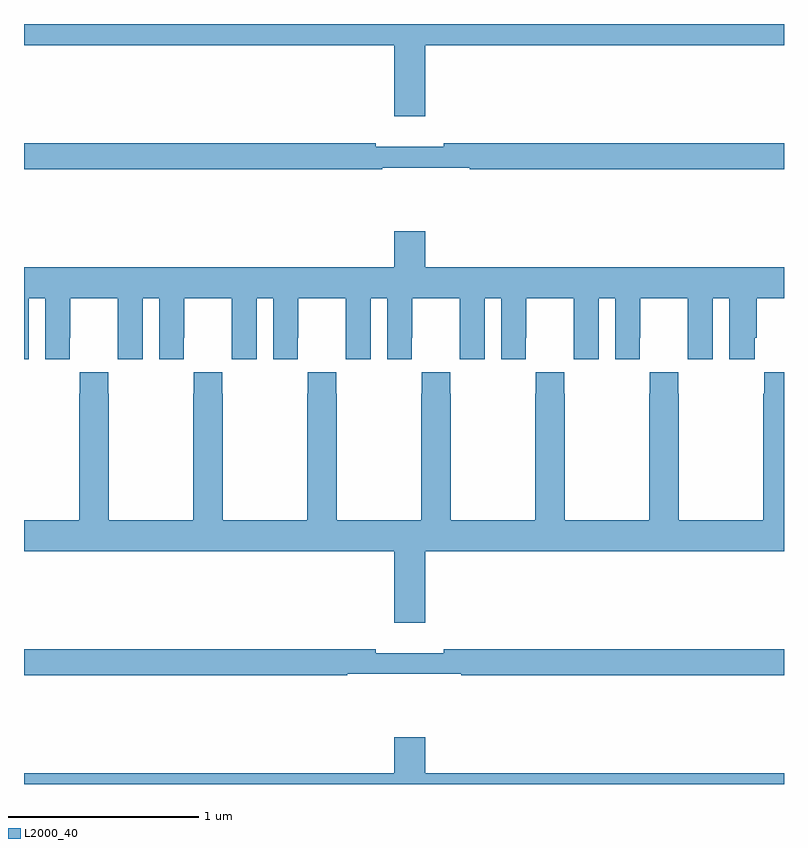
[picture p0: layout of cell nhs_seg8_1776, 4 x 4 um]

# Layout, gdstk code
import gdstk
lib = gdstk.Library(unit=1e-6, precision=1e-09)
def P(c, l, *ps):  # polygons
    for p in ps: c.add(gdstk.Polygon(p, *l))
L2000_40 = (2000, 40)

nhs_seg8_1776 = lib.new_cell('nhs_seg8_1776')
P(nhs_seg8_1776, L2000_40, [(225.112,1161.788),(227,1161.788),(227,1161.9),(223,1161.9),(223,1161.788),(224.948,1161.788),(224.948,1161.414),(225.112,1161.414)],
  [(224.885,1161.144),(225.345,1161.144),(225.345,1161.136),(227,1161.136),(227,1161.272),(225.208,1161.272),(225.208,1161.253),(224.852,1161.253),(224.852,1161.272),(223,1161.272),(223,1161.136),(224.885,1161.136)],
  [(224.948,1160.62),(223,1160.62),(223,1160.136),(223.024,1160.136),(223.024,1160.456),(223.112,1160.456),(223.112,1160.136),(223.242,1160.136),(223.242,1160.248),(223.243,1160.248),(223.243,1160.456),(223.493,1160.456),(223.493,1160.248),(223.494,1160.248),(223.494,1160.136),(223.624,1160.136),(223.624,1160.456),(223.712,1160.456),(223.712,1160.136),(223.842,1160.136),(223.842,1160.248),(223.843,1160.248),(223.843,1160.456),(224.093,1160.456),(224.093,1160.248),(224.094,1160.248),(224.094,1160.136),(224.224,1160.136),(224.224,1160.456),(224.312,1160.456),(224.312,1160.136),(224.442,1160.136),(224.442,1160.248),(224.443,1160.248),(224.443,1160.456),(224.693,1160.456),(224.693,1160.248),(224.694,1160.248),(224.694,1160.136),(224.824,1160.136),(224.824,1160.456),(224.912,1160.456),(224.912,1160.136),(225.042,1160.136),(225.042,1160.248),(225.043,1160.248),(225.043,1160.456),(225.293,1160.456),(225.293,1160.248),(225.294,1160.248),(225.294,1160.136),(225.424,1160.136),(225.424,1160.456),(225.512,1160.456),(225.512,1160.136),(225.642,1160.136),(225.642,1160.248),(225.643,1160.248),(225.643,1160.456),(225.893,1160.456),(225.893,1160.248),(225.894,1160.248),(225.894,1160.136),(226.024,1160.136),(226.024,1160.456),(226.112,1160.456),(226.112,1160.136),(226.242,1160.136),(226.242,1160.248),(226.243,1160.248),(226.243,1160.456),(226.493,1160.456),(226.493,1160.248),(226.494,1160.248),(226.494,1160.136),(226.624,1160.136),(226.624,1160.456),(226.712,1160.456),(226.712,1160.136),(226.846,1160.136),(226.846,1160.248),(226.856,1160.248),(226.856,1160.456),(227,1160.456),(227,1160.62),(225.112,1160.62),(225.112,1160.809),(224.948,1160.809)],
  [(225.112,1159.124),(227,1159.124),(227,1160.068),(226.897,1160.068),(226.897,1159.955),(226.891,1159.955),(226.891,1159.288),(226.446,1159.288),(226.446,1159.955),(226.443,1159.955),(226.443,1160.068),(226.293,1160.068),(226.293,1159.955),(226.291,1159.955),(226.291,1159.288),(225.846,1159.288),(225.846,1159.955),(225.843,1159.955),(225.843,1160.068),(225.693,1160.068),(225.693,1159.955),(225.691,1159.955),(225.691,1159.288),(225.246,1159.288),(225.246,1159.955),(225.243,1159.955),(225.243,1160.068),(225.093,1160.068),(225.093,1159.955),(225.091,1159.955),(225.091,1159.288),(224.646,1159.288),(224.646,1159.955),(224.643,1159.955),(224.643,1160.068),(224.493,1160.068),(224.493,1159.955),(224.491,1159.955),(224.491,1159.288),(224.046,1159.288),(224.046,1159.955),(224.043,1159.955),(224.043,1160.068),(223.893,1160.068),(223.893,1159.955),(223.891,1159.955),(223.891,1159.288),(223.446,1159.288),(223.446,1159.955),(223.443,1159.955),(223.443,1160.068),(223.293,1160.068),(223.293,1159.955),(223.291,1159.955),(223.291,1159.288),(223,1159.288),(223,1159.124),(224.948,1159.124),(224.948,1158.75),(225.112,1158.75)],
  [(224.702,1158.48),(225.302,1158.48),(225.302,1158.472),(227,1158.472),(227,1158.608),(225.208,1158.608),(225.208,1158.589),(224.852,1158.589),(224.852,1158.608),(223,1158.608),(223,1158.472),(224.702,1158.472)],
  [(227,1157.956),(225.112,1157.956),(225.112,1158.145),(224.948,1158.145),(224.948,1157.956),(223,1157.956),(223,1157.9),(227,1157.9)])

lib.write_gds('nhs_seg8_1776.gds')
